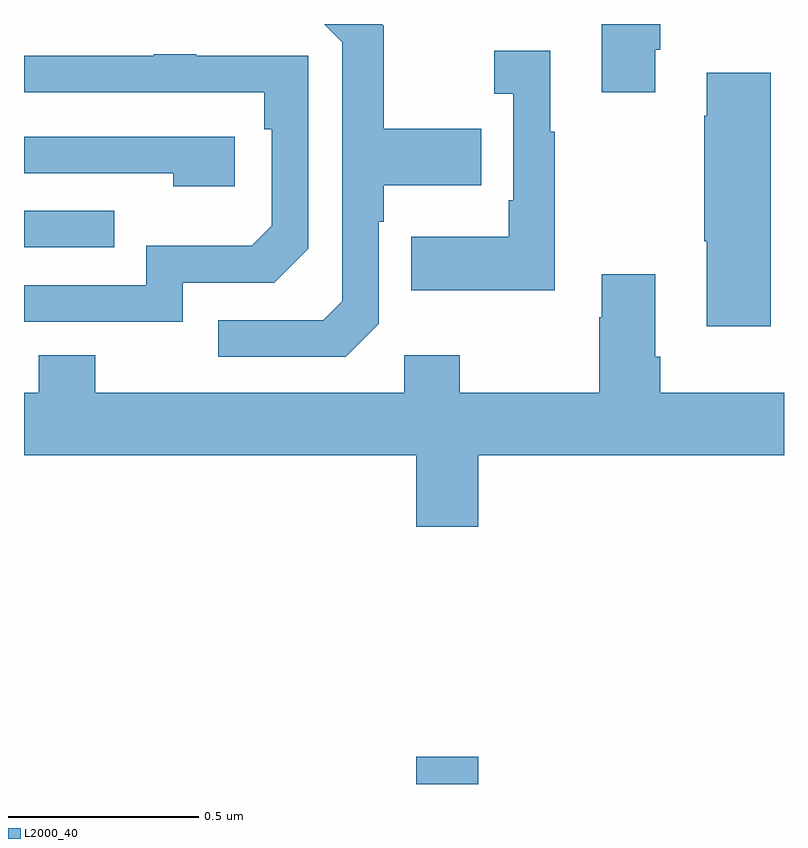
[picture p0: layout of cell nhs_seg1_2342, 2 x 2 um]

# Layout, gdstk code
import gdstk
lib = gdstk.Library(unit=1e-6, precision=1e-09)
def R(c, l, rs):  # rectangles x0, y0, x1, y1
    for r in rs: c.add(gdstk.rectangle(r[:2], r[2:], *l))
def P(c, l, *ps):  # polygons
    for p in ps: c.add(gdstk.Polygon(p, *l))
L2000_40 = (2000, 40)

nhs_seg1_2342 = lib.new_cell('nhs_seg1_2342')
R(nhs_seg1_2342, L2000_40, [(141.032,552.199,141.196,552.271), (140,553.611,140.237,553.707)])
P(nhs_seg1_2342, L2000_40, [(141.661,554.131),(141.674,554.131),(141.674,554.199),(141.521,554.199),(141.521,554.019),(141.661,554.019)],
  [(140.934,553.41),(140.934,553.679),(140.947,553.679),(140.947,553.775),(141.203,553.775),(141.203,553.923),(140.947,553.923),(140.947,554.195),(140.943,554.199),(140.79,554.199),(140.838,554.151),(140.838,553.47),(140.787,553.419),(140.511,553.419),(140.511,553.323),(140.847,553.323)],
  [(141.397,553.915),(141.385,553.915),(141.385,554.128),(141.237,554.128),(141.237,554.015),(141.288,554.015),(141.288,553.735),(141.276,553.735),(141.276,553.639),(141.019,553.639),(141.019,553.499),(141.397,553.499)],
  [(140.418,553.518),(140.658,553.518),(140.748,553.608),(140.748,554.115),(140.453,554.115),(140.453,554.12),(140.341,554.12),(140.341,554.115),(140,554.115),(140,554.019),(140.632,554.019),(140.632,553.922),(140.652,553.922),(140.652,553.668),(140.599,553.615),(140.322,553.615),(140.322,553.512),(140,553.512),(140,553.416),(140.418,553.416)],
  [(141.965,554.071),(141.797,554.071),(141.797,553.958),(141.79,553.958),(141.79,553.627),(141.797,553.627),(141.797,553.404),(141.965,553.404)],
  [(140.554,553.902),(140,553.902),(140,553.806),(140.393,553.806),(140.393,553.772),(140.554,553.772)],
  [(141.196,553.064),(142,553.064),(142,553.228),(141.674,553.228),(141.674,553.324),(141.661,553.324),(141.661,553.54),(141.521,553.54),(141.521,553.427),(141.514,553.427),(141.514,553.228),(141.147,553.228),(141.147,553.327),(141,553.327),(141,553.228),(140.187,553.228),(140.187,553.327),(140.039,553.327),(140.039,553.228),(140,553.228),(140,553.064),(141.032,553.064),(141.032,552.876),(141.196,552.876)])

lib.write_gds('nhs_seg1_2342.gds')
